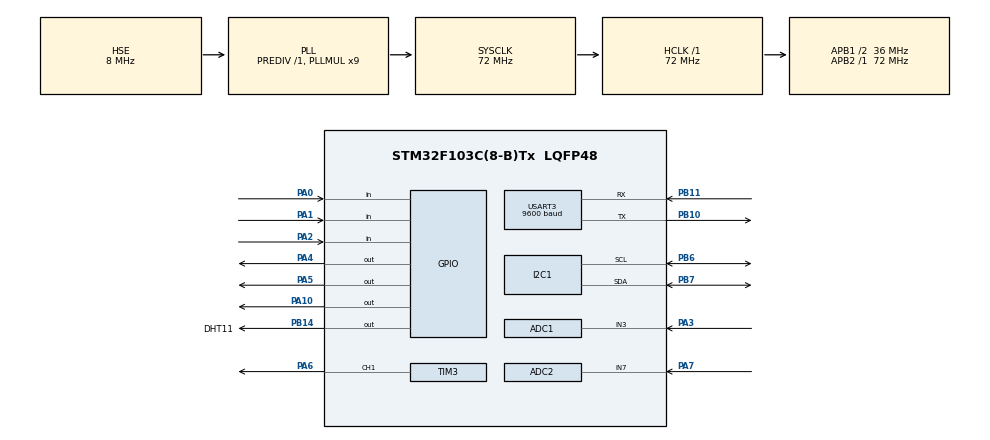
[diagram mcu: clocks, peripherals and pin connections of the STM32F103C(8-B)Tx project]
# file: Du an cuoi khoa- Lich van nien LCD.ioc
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ADC1.Channel-1\#ChannelRegularConversion=ADC_CHANNEL_3
ADC1.ContinuousConvMode=ENABLE
ADC1.NbrOfConversionFlag=1
ADC1.Rank-1\#ChannelRegularConversion=1
ADC1.SamplingTime-1\#ChannelRegularConversion=ADC_SAMPLETIME_239CYCLES_5
ADC1.master=1
ADC2.Channel-3\#ChannelRegularConversion=ADC_CHANNEL_7
ADC2.ContinuousConvMode=ENABLE
ADC2.NbrOfConversionFlag=1
ADC2.Rank-3\#ChannelRegularConversion=1
ADC2.SamplingTime-3\#ChannelRegularConversion=ADC_SAMPLETIME_239CYCLES_5
Mcu.Family=STM32F1
Mcu.Name=STM32F103C(8-B)Tx
Mcu.Package=LQFP48
NVIC.ADC1_2_IRQn=true\:1\:0\:true\:false\:true\:true\:true
NVIC.PriorityGroup=NVIC_PRIORITYGROUP_4
NVIC.USART3_IRQn=true\:1\:0\:true\:false\:true\:true\:true
PA0-WKUP.GPIO_Mode=GPIO_MODE_INPUT
PA0-WKUP.GPIO_PuPd=GPIO_PULLUP
PA0-WKUP.Signal=GPIO_Input
PA1.GPIO_Mode=GPIO_MODE_INPUT
PA1.GPIO_PuPd=GPIO_PULLUP
PA1.Signal=GPIO_Input
PA10.Signal=GPIO_Output
PA13.Mode=Serial_Wire
PA13.Signal=SYS_JTMS-SWDIO
PA14.Mode=Serial_Wire
PA14.Signal=SYS_JTCK-SWCLK
PA2.GPIO_Mode=GPIO_MODE_INPUT
PA2.GPIO_PuPd=GPIO_PULLUP
PA2.Signal=GPIO_Input
PA3.Signal=ADCx_IN3
PA4.Signal=GPIO_Output
PA5.Signal=GPIO_Output
PA6.Signal=S_TIM3_CH1
PA7.Signal=ADCx_IN7
PB10.Mode=Asynchronous
PB10.Signal=USART3_TX
PB11.Mode=Asynchronous
PB11.Signal=USART3_RX
PB14.GPIO_Label=DHT11
PB14.Signal=GPIO_Output
PB6.Mode=I2C
PB6.Signal=I2C1_SCL
PB7.Mode=I2C
PB7.Signal=I2C1_SDA
PD0-OSC_IN.Mode=HSE-External-Oscillator
PD0-OSC_IN.Signal=RCC_OSC_IN
PD1-OSC_OUT.Mode=HSE-External-Oscillator
PD1-OSC_OUT.Signal=RCC_OSC_OUT
ProjectManager.HeapSize=0x200
ProjectManager.StackSize=0x400
ProjectManager.TargetToolchain=MDK-ARM V5.32
RCC.ADCPresc=RCC_ADCPCLK2_DIV6
RCC.AHBFreq_Value=72000000
RCC.APB1CLKDivider=RCC_HCLK_DIV2
RCC.APB1Freq_Value=36000000
RCC.APB1TimFreq_Value=72000000
RCC.APB2Freq_Value=72000000
RCC.APB2TimFreq_Value=72000000
RCC.HCLKFreq_Value=72000000
RCC.PLLMUL=RCC_PLL_MUL9
RCC.PLLSourceVirtual=RCC_PLLSOURCE_HSE
RCC.SYSCLKFreq_VALUE=72000000
RCC.SYSCLKSource=RCC_SYSCLKSOURCE_PLLCLK
RCC.USBFreq_Value=72000000
SH.ADCx_IN3.0=ADC1_IN3,IN3
SH.ADCx_IN7.0=ADC2_IN7,IN7
SH.S_TIM3_CH1.0=TIM3_CH1,PWM Generation1 CH1
TIM3.Channel-PWM\ Generation1\ CH1=TIM_CHANNEL_1
TIM3.Period=1000-1
TIM3.Prescaler=72-1
USART3.BaudRate=9600
USART3.VirtualMode=VM_ASYNC
VP_TIM3_VS_ClockSourceINT.Mode=Internal
board=custom

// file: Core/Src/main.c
/* USER CODE BEGIN Header */
/**
  ******************************************************************************
  * @file           : main.c
  * @brief          : Main program body
  ******************************************************************************
  * @attention
  *
  * <h2><center>&copy; Copyright (c) 2021 STMicroelectronics.
  * All rights reserved.</center></h2>
  *
  * This software component is licensed by ST under BSD 3-Clause license,
  * the "License"; You may not use this file except in compliance with the
  * License. You may obtain a copy of the License at:
  *                        opensource.org/licenses/BSD-3-Clause
  *
  ******************************************************************************
  */
/* USER CODE END Header */
#include "main.h"

/* USER CODE BEGIN Includes */
#include <stdlib.h>
/* USER CODE END Includes */

ADC_HandleTypeDef hadc1;
ADC_HandleTypeDef hadc2;

I2C_HandleTypeDef hi2c1;

TIM_HandleTypeDef htim3;

UART_HandleTypeDef huart3;

void SystemClock_Config(void);
static void MX_GPIO_Init(void);
static void MX_I2C1_Init(void);
static void MX_ADC1_Init(void);
static void MX_USART3_UART_Init(void);
static void MX_ADC2_Init(void);
static void MX_TIM3_Init(void);

/* USER CODE BEGIN 0 */
#include "LiquidCrystal_I2C.h"
#include "DS3231.h"
#include "Button.h"
#include "stdio.h"
#include "button_callback.h"
#include "clock_handle.h"
#include "delay_timer.h"
#include "DHT.h"
#include "utils.h"

//extern DHT_Name DHT1;

/* USER CODE END 0 */

int main(void)
{

  /* MCU Configuration--------------------------------------------------------*/

  /* Reset of all peripherals, Initializes the Flash interface and the Systick. */
  HAL_Init();

  /* Configure the system clock */
  SystemClock_Config();

  /* Initialize all configured peripherals */
  MX_GPIO_Init();
  MX_I2C1_Init();
  MX_ADC1_Init();
  MX_USART3_UART_Init();
  MX_ADC2_Init();
  MX_TIM3_Init();
  /* USER CODE BEGIN 2 */
	clock_init(&hi2c1);
  button_callback_init();
	HAL_ADC_Start_IT(&hadc1);
	PWM_ADC_init(&htim3,&hadc2);

  /* USER CODE END 2 */

  /* Infinite loop */
  while (1)
  {

    /* USER CODE BEGIN 3 */
    button_callback_handle();
		handle_backlight_5s();
		clock_handle();
		check_alarm();
		handle_ADC_PWM();

  }
  /* USER CODE END 3 */
}

void SystemClock_Config(void)
{
  RCC_OscInitTypeDef RCC_OscInitStruct = {0};
  RCC_ClkInitTypeDef RCC_ClkInitStruct = {0};
  RCC_PeriphCLKInitTypeDef PeriphClkInit = {0};

  /** Initializes the RCC Oscillators according to the specified parameters
  * in the RCC_OscInitTypeDef structure.
  */
  RCC_OscInitStruct.OscillatorType = RCC_OSCILLATORTYPE_HSE;
  RCC_OscInitStruct.HSEState = RCC_HSE_ON;
  RCC_OscInitStruct.HSEPredivValue = RCC_HSE_PREDIV_DIV1;
  RCC_OscInitStruct.HSIState = RCC_HSI_ON;
  RCC_OscInitStruct.PLL.PLLState = RCC_PLL_ON;
  RCC_OscInitStruct.PLL.PLLSource = RCC_PLLSOURCE_HSE;
  RCC_OscInitStruct.PLL.PLLMUL = RCC_PLL_MUL9;
  if (HAL_RCC_OscConfig(&RCC_OscInitStruct) != HAL_OK)
  {
    Error_Handler();
  }
  /** Initializes the CPU, AHB and APB buses clocks
  */
  RCC_ClkInitStruct.ClockType = RCC_CLOCKTYPE_HCLK|RCC_CLOCKTYPE_SYSCLK
                              |RCC_CLOCKTYPE_PCLK1|RCC_CLOCKTYPE_PCLK2;
  RCC_ClkInitStruct.SYSCLKSource = RCC_SYSCLKSOURCE_PLLCLK;
  RCC_ClkInitStruct.AHBCLKDivider = RCC_SYSCLK_DIV1;
  RCC_ClkInitStruct.APB1CLKDivider = RCC_HCLK_DIV2;
  RCC_ClkInitStruct.APB2CLKDivider = RCC_HCLK_DIV1;

  if (HAL_RCC_ClockConfig(&RCC_ClkInitStruct, FLASH_LATENCY_2) != HAL_OK)
  {
    Error_Handler();
  }
  PeriphClkInit.PeriphClockSelection = RCC_PERIPHCLK_ADC;
  PeriphClkInit.AdcClockSelection = RCC_ADCPCLK2_DIV6;
  if (HAL_RCCEx_PeriphCLKConfig(&PeriphClkInit) != HAL_OK)
  {
    Error_Handler();
  }
}

static void MX_ADC1_Init(void)
{

  ADC_ChannelConfTypeDef sConfig = {0};

  /** Common config
  */
  hadc1.Instance = ADC1;
  hadc1.Init.ScanConvMode = ADC_SCAN_DISABLE;
  hadc1.Init.ContinuousConvMode = ENABLE;
  hadc1.Init.DiscontinuousConvMode = DISABLE;
  hadc1.Init.ExternalTrigConv = ADC_SOFTWARE_START;
  hadc1.Init.DataAlign = ADC_DATAALIGN_RIGHT;
  hadc1.Init.NbrOfConversion = 1;
  if (HAL_ADC_Init(&hadc1) != HAL_OK)
  {
    Error_Handler();
  }
  /** Configure Regular Channel
  */
  sConfig.Channel = ADC_CHANNEL_3;
  sConfig.Rank = ADC_REGULAR_RANK_1;
  sConfig.SamplingTime = ADC_SAMPLETIME_239CYCLES_5;
  if (HAL_ADC_ConfigChannel(&hadc1, &sConfig) != HAL_OK)
  {
    Error_Handler();
  }

}

static void MX_ADC2_Init(void)
{

  ADC_ChannelConfTypeDef sConfig = {0};

  /** Common config
  */
  hadc2.Instance = ADC2;
  hadc2.Init.ScanConvMode = ADC_SCAN_DISABLE;
  hadc2.Init.ContinuousConvMode = ENABLE;
  hadc2.Init.DiscontinuousConvMode = DISABLE;
  hadc2.Init.ExternalTrigConv = ADC_SOFTWARE_START;
  hadc2.Init.DataAlign = ADC_DATAALIGN_RIGHT;
  hadc2.Init.NbrOfConversion = 1;
  if (HAL_ADC_Init(&hadc2) != HAL_OK)
  {
    Error_Handler();
  }
  /** Configure Regular Channel
  */
  sConfig.Channel = ADC_CHANNEL_7;
  sConfig.Rank = ADC_REGULAR_RANK_1;
  sConfig.SamplingTime = ADC_SAMPLETIME_239CYCLES_5;
  if (HAL_ADC_ConfigChannel(&hadc2, &sConfig) != HAL_OK)
  {
    Error_Handler();
  }

}

static void MX_I2C1_Init(void)
{

  hi2c1.Instance = I2C1;
  hi2c1.Init.ClockSpeed = 100000;
  hi2c1.Init.DutyCycle = I2C_DUTYCYCLE_2;
  hi2c1.Init.OwnAddress1 = 0;
  hi2c1.Init.AddressingMode = I2C_ADDRESSINGMODE_7BIT;
  hi2c1.Init.DualAddressMode = I2C_DUALADDRESS_DISABLE;
  hi2c1.Init.OwnAddress2 = 0;
  hi2c1.Init.GeneralCallMode = I2C_GENERALCALL_DISABLE;
  hi2c1.Init.NoStretchMode = I2C_NOSTRETCH_DISABLE;
  if (HAL_I2C_Init(&hi2c1) != HAL_OK)
  {
    Error_Handler();
  }

}

static void MX_TIM3_Init(void)
{

  TIM_ClockConfigTypeDef sClockSourceConfig = {0};
  TIM_MasterConfigTypeDef sMasterConfig = {0};
  TIM_OC_InitTypeDef sConfigOC = {0};

  htim3.Instance = TIM3;
  htim3.Init.Prescaler = 72-1;
  htim3.Init.CounterMode = TIM_COUNTERMODE_UP;
  htim3.Init.Period = 1000-1;
  htim3.Init.ClockDivision = TIM_CLOCKDIVISION_DIV1;
  htim3.Init.AutoReloadPreload = TIM_AUTORELOAD_PRELOAD_DISABLE;
  if (HAL_TIM_Base_Init(&htim3) != HAL_OK)
  {
    Error_Handler();
  }
  sClockSourceConfig.ClockSource = TIM_CLOCKSOURCE_INTERNAL;
  if (HAL_TIM_ConfigClockSource(&htim3, &sClockSourceConfig) != HAL_OK)
  {
    Error_Handler();
  }
  if (HAL_TIM_PWM_Init(&htim3) != HAL_OK)
  {
    Error_Handler();
  }
  sMasterConfig.MasterOutputTrigger = TIM_TRGO_RESET;
  sMasterConfig.MasterSlaveMode = TIM_MASTERSLAVEMODE_DISABLE;
  if (HAL_TIMEx_MasterConfigSynchronization(&htim3, &sMasterConfig) != HAL_OK)
  {
    Error_Handler();
  }
  sConfigOC.OCMode = TIM_OCMODE_PWM1;
  sConfigOC.Pulse = 0;
  sConfigOC.OCPolarity = TIM_OCPOLARITY_HIGH;
  sConfigOC.OCFastMode = TIM_OCFAST_DISABLE;
  if (HAL_TIM_PWM_ConfigChannel(&htim3, &sConfigOC, TIM_CHANNEL_1) != HAL_OK)
  {
    Error_Handler();
  }
  HAL_TIM_MspPostInit(&htim3);

}

static void MX_USART3_UART_Init(void)
{

  huart3.Instance = USART3;
  huart3.Init.BaudRate = 9600;
  huart3.Init.WordLength = UART_WORDLENGTH_8B;
  huart3.Init.StopBits = UART_STOPBITS_1;
  huart3.Init.Parity = UART_PARITY_NONE;
  huart3.Init.Mode = UART_MODE_TX_RX;
  huart3.Init.HwFlowCtl = UART_HWCONTROL_NONE;
  huart3.Init.OverSampling = UART_OVERSAMPLING_16;
  if (HAL_UART_Init(&huart3) != HAL_OK)
  {
    Error_Handler();
  }

}

static void MX_GPIO_Init(void)
{
  GPIO_InitTypeDef GPIO_InitStruct = {0};

  /* GPIO Ports Clock Enable */
  __HAL_RCC_GPIOD_CLK_ENABLE();
  __HAL_RCC_GPIOA_CLK_ENABLE();
  __HAL_RCC_GPIOB_CLK_ENABLE();

  /*Configure GPIO pin Output Level */
  HAL_GPIO_WritePin(GPIOA, GPIO_PIN_4|GPIO_PIN_5|GPIO_PIN_10, GPIO_PIN_RESET);

  /*Configure GPIO pin Output Level */
  HAL_GPIO_WritePin(DHT11_GPIO_Port, DHT11_Pin, GPIO_PIN_RESET);

  /*Configure GPIO pins : PA0 PA1 PA2 */
  GPIO_InitStruct.Pin = GPIO_PIN_0|GPIO_PIN_1|GPIO_PIN_2;
  GPIO_InitStruct.Mode = GPIO_MODE_INPUT;
  GPIO_InitStruct.Pull = GPIO_PULLUP;
  HAL_GPIO_Init(GPIOA, &GPIO_InitStruct);

  /*Configure GPIO pins : PA4 PA5 PA10 */
  GPIO_InitStruct.Pin = GPIO_PIN_4|GPIO_PIN_5|GPIO_PIN_10;
  GPIO_InitStruct.Mode = GPIO_MODE_OUTPUT_PP;
  GPIO_InitStruct.Pull = GPIO_NOPULL;
  GPIO_InitStruct.Speed = GPIO_SPEED_FREQ_LOW;
  HAL_GPIO_Init(GPIOA, &GPIO_InitStruct);

  /*Configure GPIO pin : DHT11_Pin */
  GPIO_InitStruct.Pin = DHT11_Pin;
  GPIO_InitStruct.Mode = GPIO_MODE_OUTPUT_PP;
  GPIO_InitStruct.Pull = GPIO_NOPULL;
  GPIO_InitStruct.Speed = GPIO_SPEED_FREQ_LOW;
  HAL_GPIO_Init(DHT11_GPIO_Port, &GPIO_InitStruct);

}

void Error_Handler(void)
{
  __disable_irq();
  while (1)
  {
  }
}

/************************ (C) COPYRIGHT STMicroelectronics *****END OF FILE****/
